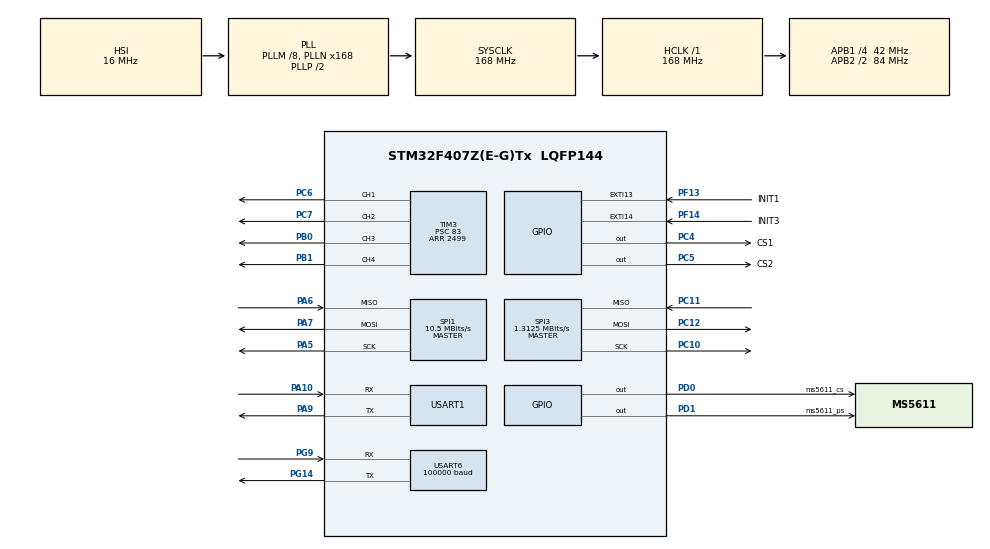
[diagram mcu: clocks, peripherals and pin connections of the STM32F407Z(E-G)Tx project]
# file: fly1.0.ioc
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Dma.Request0=SPI1_RX
Dma.Request1=SPI1_TX
Dma.Request2=USART6_RX
Dma.Request3=USART1_RX
Dma.Request4=USART1_TX
Dma.SPI1_RX.0.Direction=DMA_PERIPH_TO_MEMORY
Dma.SPI1_RX.0.FIFOMode=DMA_FIFOMODE_DISABLE
Dma.SPI1_RX.0.Instance=DMA2_Stream0
Dma.SPI1_RX.0.MemDataAlignment=DMA_MDATAALIGN_BYTE
Dma.SPI1_RX.0.MemInc=DMA_MINC_ENABLE
Dma.SPI1_RX.0.Mode=DMA_NORMAL
Dma.SPI1_RX.0.PeriphDataAlignment=DMA_PDATAALIGN_BYTE
Dma.SPI1_RX.0.PeriphInc=DMA_PINC_DISABLE
Dma.SPI1_RX.0.Priority=DMA_PRIORITY_VERY_HIGH
Dma.SPI1_TX.1.Direction=DMA_MEMORY_TO_PERIPH
Dma.SPI1_TX.1.FIFOMode=DMA_FIFOMODE_DISABLE
Dma.SPI1_TX.1.Instance=DMA2_Stream3
Dma.SPI1_TX.1.MemDataAlignment=DMA_MDATAALIGN_BYTE
Dma.SPI1_TX.1.MemInc=DMA_MINC_ENABLE
Dma.SPI1_TX.1.Mode=DMA_NORMAL
Dma.SPI1_TX.1.PeriphDataAlignment=DMA_PDATAALIGN_BYTE
Dma.SPI1_TX.1.PeriphInc=DMA_PINC_DISABLE
Dma.SPI1_TX.1.Priority=DMA_PRIORITY_VERY_HIGH
Dma.USART1_RX.3.Direction=DMA_PERIPH_TO_MEMORY
Dma.USART1_RX.3.FIFOMode=DMA_FIFOMODE_DISABLE
Dma.USART1_RX.3.Instance=DMA2_Stream2
Dma.USART1_RX.3.MemDataAlignment=DMA_MDATAALIGN_BYTE
Dma.USART1_RX.3.MemInc=DMA_MINC_ENABLE
Dma.USART1_RX.3.Mode=DMA_CIRCULAR
Dma.USART1_RX.3.PeriphDataAlignment=DMA_PDATAALIGN_BYTE
Dma.USART1_RX.3.PeriphInc=DMA_PINC_DISABLE
Dma.USART1_RX.3.Priority=DMA_PRIORITY_VERY_HIGH
Dma.USART1_TX.4.Direction=DMA_MEMORY_TO_PERIPH
Dma.USART1_TX.4.FIFOMode=DMA_FIFOMODE_DISABLE
Dma.USART1_TX.4.Instance=DMA2_Stream7
Dma.USART1_TX.4.MemDataAlignment=DMA_MDATAALIGN_BYTE
Dma.USART1_TX.4.MemInc=DMA_MINC_ENABLE
Dma.USART1_TX.4.Mode=DMA_NORMAL
Dma.USART1_TX.4.PeriphDataAlignment=DMA_PDATAALIGN_BYTE
Dma.USART1_TX.4.PeriphInc=DMA_PINC_DISABLE
Dma.USART1_TX.4.Priority=DMA_PRIORITY_HIGH
Dma.USART6_RX.2.Direction=DMA_PERIPH_TO_MEMORY
Dma.USART6_RX.2.FIFOMode=DMA_FIFOMODE_DISABLE
Dma.USART6_RX.2.Instance=DMA2_Stream1
Dma.USART6_RX.2.MemDataAlignment=DMA_MDATAALIGN_BYTE
Dma.USART6_RX.2.MemInc=DMA_MINC_ENABLE
Dma.USART6_RX.2.Mode=DMA_CIRCULAR
Dma.USART6_RX.2.PeriphDataAlignment=DMA_PDATAALIGN_BYTE
Dma.USART6_RX.2.PeriphInc=DMA_PINC_DISABLE
Dma.USART6_RX.2.Priority=DMA_PRIORITY_MEDIUM
Mcu.Family=STM32F4
Mcu.Name=STM32F407Z(E-G)Tx
Mcu.Package=LQFP144
NVIC.DMA2_Stream0_IRQn=true\:1\:0\:true\:false\:true\:false\:true\:true
NVIC.DMA2_Stream1_IRQn=true\:9\:0\:true\:false\:true\:false\:true\:true
NVIC.DMA2_Stream2_IRQn=true\:8\:0\:true\:false\:true\:false\:true\:true
NVIC.DMA2_Stream3_IRQn=true\:1\:0\:true\:false\:true\:false\:true\:true
NVIC.DMA2_Stream7_IRQn=true\:8\:0\:true\:false\:true\:false\:true\:true
NVIC.EXTI15_10_IRQn=true\:0\:0\:true\:false\:true\:true\:true\:true
NVIC.PriorityGroup=NVIC_PRIORITYGROUP_4
NVIC.SPI1_IRQn=true\:3\:0\:true\:false\:true\:true\:true\:true
NVIC.TIM2_IRQn=true\:6\:0\:true\:false\:true\:true\:true\:true
NVIC.TIM5_IRQn=true\:15\:0\:true\:false\:true\:true\:true\:true
NVIC.USART1_IRQn=true\:10\:0\:true\:false\:true\:true\:true\:true
NVIC.USART6_IRQn=true\:5\:0\:true\:false\:true\:true\:true\:true
PA10.Mode=Asynchronous
PA10.Signal=USART1_RX
PA13.Mode=Serial_Wire
PA13.Signal=SYS_JTMS-SWDIO
PA14.Mode=Serial_Wire
PA14.Signal=SYS_JTCK-SWCLK
PA5.Mode=Full_Duplex_Master
PA5.Signal=SPI1_SCK
PA6.Mode=Full_Duplex_Master
PA6.Signal=SPI1_MISO
PA7.Mode=Full_Duplex_Master
PA7.Signal=SPI1_MOSI
PA9.Mode=Asynchronous
PA9.Signal=USART1_TX
PB0.Signal=S_TIM3_CH3
PB1.Signal=S_TIM3_CH4
PC10.Mode=Full_Duplex_Master
PC10.Signal=SPI3_SCK
PC11.Mode=Full_Duplex_Master
PC11.Signal=SPI3_MISO
PC12.Mode=Full_Duplex_Master
PC12.Signal=SPI3_MOSI
PC4.GPIO_Label=CS1
PC4.GPIO_PuPd=GPIO_PULLUP
PC4.GPIO_Speed=GPIO_SPEED_FREQ_MEDIUM
PC4.PinState=GPIO_PIN_SET
PC4.Signal=GPIO_Output
PC5.GPIO_Label=CS2
PC5.GPIO_PuPd=GPIO_PULLUP
PC5.GPIO_Speed=GPIO_SPEED_FREQ_MEDIUM
PC5.PinState=GPIO_PIN_SET
PC5.Signal=GPIO_Output
PC6.Signal=S_TIM3_CH1
PC7.Signal=S_TIM3_CH2
PD0.GPIO_Label=ms5611_cs
PD0.PinState=GPIO_PIN_SET
PD0.Signal=GPIO_Output
PD1.GPIO_Label=ms5611_ps
PD1.Signal=GPIO_Output
PF13.GPIO_Label=INIT1
PF13.GPIO_ModeDefaultEXTI=GPIO_MODE_IT_RISING
PF13.GPIO_PuPd=GPIO_NOPULL
PF13.Signal=GPXTI13
PF14.GPIO_Label=INIT3
PF14.GPIO_PuPd=GPIO_NOPULL
PF14.Signal=GPXTI14
PG14.Mode=Asynchronous
PG14.Signal=USART6_TX
PG9.Mode=Asynchronous
PG9.Signal=USART6_RX
PH0-OSC_IN.Mode=HSE-External-Oscillator
PH0-OSC_IN.Signal=RCC_OSC_IN
PH1-OSC_OUT.Mode=HSE-External-Oscillator
PH1-OSC_OUT.Signal=RCC_OSC_OUT
ProjectManager.HeapSize=0x200
ProjectManager.StackSize=0x400
ProjectManager.TargetToolchain=MDK-ARM V5.32
RCC.48MHZClocksFreq_Value=84000000
RCC.AHBFreq_Value=168000000
RCC.APB1CLKDivider=RCC_HCLK_DIV4
RCC.APB1Freq_Value=42000000
RCC.APB1TimFreq_Value=84000000
RCC.APB2CLKDivider=RCC_HCLK_DIV2
RCC.APB2Freq_Value=84000000
RCC.APB2TimFreq_Value=168000000
RCC.CortexFreq_Value=168000000
RCC.HCLKFreq_Value=168000000
RCC.HSE_VALUE=25000000
RCC.HSI_VALUE=16000000
RCC.LSE_VALUE=32768
RCC.PLLM=8
RCC.PLLN=168
RCC.SYSCLKFreq_VALUE=168000000
RCC.SYSCLKSource=RCC_SYSCLKSOURCE_PLLCLK
RCC.VCOOutputFreq_Value=336000000
SH.S_TIM3_CH1.0=TIM3_CH1,PWM Generation1 CH1
SH.S_TIM3_CH2.0=TIM3_CH2,PWM Generation2 CH2
SH.S_TIM3_CH3.0=TIM3_CH3,PWM Generation3 CH3
SH.S_TIM3_CH4.0=TIM3_CH4,PWM Generation4 CH4
SPI1.BaudRatePrescaler=SPI_BAUDRATEPRESCALER_8
SPI1.CLKPhase=SPI_PHASE_2EDGE
SPI1.CLKPolarity=SPI_POLARITY_HIGH
SPI1.CalculateBaudRate=10.5 MBits/s
SPI1.Direction=SPI_DIRECTION_2LINES
SPI1.Mode=SPI_MODE_MASTER
SPI1.VirtualType=VM_MASTER
SPI3.BaudRatePrescaler=SPI_BAUDRATEPRESCALER_32
SPI3.CLKPhase=SPI_PHASE_1EDGE
SPI3.CalculateBaudRate=1.3125 MBits/s
SPI3.Direction=SPI_DIRECTION_2LINES
SPI3.Mode=SPI_MODE_MASTER
SPI3.VirtualType=VM_MASTER
TIM2.AutoReloadPreload=TIM_AUTORELOAD_PRELOAD_ENABLE
TIM2.Period=999
TIM2.Prescaler=83
TIM3.AutoReloadPreload=TIM_AUTORELOAD_PRELOAD_ENABLE
TIM3.Channel-PWM\ Generation1\ CH1=TIM_CHANNEL_1
TIM3.Channel-PWM\ Generation2\ CH2=TIM_CHANNEL_2
TIM3.Channel-PWM\ Generation3\ CH3=TIM_CHANNEL_3
TIM3.Channel-PWM\ Generation4\ CH4=TIM_CHANNEL_4
TIM3.Period=2499
TIM3.Prescaler=83
TIM3.Pulse-PWM\ Generation1\ CH1=1000
TIM3.Pulse-PWM\ Generation2\ CH2=1000
TIM3.Pulse-PWM\ Generation3\ CH3=1000
TIM3.Pulse-PWM\ Generation4\ CH4=1000
TIM5.Prescaler=83
USART1.VirtualMode=VM_ASYNC
USART6.BaudRate=100000
USART6.Parity=PARITY_EVEN
USART6.StopBits=STOPBITS_2
USART6.VirtualMode=VM_ASYNC
USART6.WordLength=WORDLENGTH_9B
VP_TIM2_VS_ClockSourceINT.Mode=Internal
VP_TIM3_VS_ClockSourceINT.Mode=Internal
VP_TIM5_VS_ClockSourceINT.Mode=Internal
board=custom

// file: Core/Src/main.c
/* USER CODE BEGIN Header */
/**
  ******************************************************************************
  * @file           : main.c
  * @brief          : Main program body
  ******************************************************************************
  * @attention
  *
  * Copyright (c) 2025 STMicroelectronics.
  * All rights reserved.
  *
  * This software is licensed under terms that can be found in the LICENSE file
  * in the root directory of this software component.
  * If no LICENSE file comes with this software, it is provided AS-IS.
  *
  ******************************************************************************
  */
/* USER CODE END Header */
#include "main.h"
#include "dma.h"
#include "spi.h"
#include "tim.h"
#include "usart.h"
#include "gpio.h"

/* USER CODE BEGIN Includes */
#include <stdio.h>
#include <string.h>
#include <stdint.h>
#include <math.h>
#include <stdarg.h>
#include "sbus.h"

#include "imu_bmi088_bus.h"
#include "imu_bus_hal.h"
#include "imu_bmi088_frontend.h"
#include "fusion_mahony.h"
#include "imu_bringup.h"
#include "bmi08x.h"
#include "bmi088.h"      // bmi088_configure_data_synchronization(...)
#include "ringbuf_spsc.h"
#include "timebase.h"  // 寮曞叆鏃堕棿鍩哄噯鍔熻兘
#include "pipeline.h"
#include "sync_pair.h"
#include "autocal.h"
#include "fc_baro.h"
#include "mixer.h"
#include "motors.h"
#include "fc_core.h"
#include "fc_evt.h"
#include "log_uart.h"
#include "fc_context.h"
/* USER CODE END Includes */

/* USER CODE BEGIN PD */
// ==== App 鍙傛暟锛堥泦涓叆鍙ｏ級====
// 鎵撳嵃棰戠巼
#ifndef PRINT_EVERY_MS
#define PRINT_EVERY_MS        40     // 25Hz 鐘舵€佽
#endif

// 瀹氫箟鐜舰闃熷垪鐨勫閲?
#define RB_CAP_DATA 64    // 鏁版嵁鐜閲?

// flush/fuse 鐨勬壒閲忎笂闄?
#define FUSE_MAX_PER_LOOP     8      // 姣忔涓诲惊鐜渶澶氳瀺鍚?4 瀵?

// IRQ 缁熻绐楀彛
#define IRQ_STATS_WINDOW_MS   1000u

// 涓插彛鏃ュ織缂撳啿锛堜笌 DMA 涓€鑷达級
#define LOG_LINE_MAX          160
#define UART_DMA_BUF_SZ       192

#ifndef VOFA_UART
#define VOFA_UART huart1         // 涓婁綅鏈鸿緭鍑虹鍙?
#endif

// ===== gyro-driven: 涓㈠け鈥滈檧铻烘牱鏈€濈粺璁￠槇鍊?=====
#define FC_MISS_WIN_MS               50u   // 缁熻绐楀彛 50ms
#define FC_MISS_THRESH_SAMPLES       10u   // 50ms 鍐呬涪 >10 涓?gyro 鏍锋湰 => degraded
#define FC_MISS_HARDSTOP_SAMPLES     30u   // 50ms 鍐呬涪 >30 涓?gyro 鏍锋湰 => hardstop

// ===== 鎺у埗寤惰繜涓婇檺锛坙ag cap锛?====
// 瓒呰繃 soft锛氳繘鍏ヨ拷璧舵€侊紙鍙瀺鍚堬紝涓嶉€愬抚璺戞帶鍒讹紱鏈€鍚庣敤鏈€鏂版牱鏈?鍚堝苟dt璺戜竴娆★級
// 瓒呰繃 hard锛氳涓虹郴缁熶弗閲嶄笉瀹炴椂锛岀洿鎺ヨЕ鍙?IMU hard stop
#define FC_CTRL_LAG_SOFT_SEC   0.005f   // 5ms锛堝缓璁?3~8ms锛?
#define FC_CTRL_LAG_HARD_SEC   0.020f   // 20ms锛堝缓璁笌 fc 鐨?IMU failsafe 涓€鑷达級

// ===== gyro 鎵瑰鐞嗛绠楋紙鎸夋按浣嶅姩鎬佽皟鑺傦級=====
#ifndef FC_GYRO_BUDGET_LOW
#define FC_GYRO_BUDGET_LOW    64
#endif
#ifndef FC_GYRO_BUDGET_MID
#define FC_GYRO_BUDGET_MID    96
#endif
#ifndef FC_GYRO_BUDGET_HIGH
#define FC_GYRO_BUDGET_HIGH   128
#endif
#ifndef FC_GYRO_BUDGET_PANIC
#define FC_GYRO_BUDGET_PANIC  192
#endif

// ===== panic锛氱垎浠撴椂灏戝仛鏉備簨锛堥檷杞斤級=====
#ifndef FC_PANIC_HOLD_MS
#define FC_PANIC_HOLD_MS        200u
#endif
#ifndef FC_PANIC_SKIP_LOG_POLL_DIV
#define FC_PANIC_SKIP_LOG_POLL_DIV  4u
#endif

// ESC 娌归棬鏍″噯妯″紡锛?=鍚敤鏍″噯锛?=姝ｅ父椋炶
#define ESC_CALIB_MODE   0
#define MOTOR_TEST_MODE  0   // 鍏堝紑娴嬭瘯锛岀敤瀹屾敼鍥?0
/* USER CODE END PD */

/* USER CODE BEGIN PV */
static IMU_BMI088_Bus bus;
static IMU_BMI088_FE  fe;
Mahony         mah;

/* 鏁版嵁鐜紙TS->鏁版嵁锛?*/
static stamped_vec3_t acc_buf[RB_CAP_DATA], gyr_buf[RB_CAP_DATA];
static rb_vec_t       acc_rb, gyr_rb;

static volatile uint8_t uart_dma_busy = 0;
static uint8_t uart_dma_buf[UART_DMA_BUF_SZ];

void HAL_UART_TxCpltCallback(UART_HandleTypeDef *huart)
{
  // 璁?log_uart 鐨?DMA/IT 鍙戦€佺姸鎬佹満寰€鍓嶈蛋
  log_uart_on_tx_cplt(huart);

  // 浣犲師鏉?VOFA 鐨?busy 鏍囧織
  if (huart == &VOFA_UART) uart_dma_busy = 0;
}
volatile float g_gyr_dps_latest[3] = {0};

volatile uint32_t g_exti_acc = 0, g_exti_gyr = 0;
volatile uint32_t g_spi1_done = 0, g_spi1_err = 0;

volatile uint8_t g_imu_drdy_pending = 0;
static uint32_t t_done = 0;
static uint32_t last_done = 0;

static uint32_t s_miss_total = 0;
static uint32_t s_miss_win_t0_ms = 0;
static uint32_t s_miss_win_cnt = 0;
static uint8_t  s_ctrl_degraded = 0;
static uint8_t  s_ctrl_hardstop = 0;
static uint32_t s_miss_warn_last_ms = 0;

static float    s_gyr_Ts_sec      = 0.001f;   // 鏈熸湜闄€铻哄懆鏈?绉?锛岀敤浜庝及绠椾涪鏍锋湰

static uint32_t sp_err_cnt = 0;
static uint32_t sp_ts_order_cnt = 0;
static uint32_t sp_err_last_ms = 0;

static uint32_t s_lag_soft_hits = 0;
static uint32_t s_lag_hard_hits = 0;

// 璁板綍涓婁竴娆＄殑绱 drop锛堢敤浜庣畻 delta锛?
static uint32_t s_last_gyr_merge_drop = 0;

// ===== 1Hz 鎵撳嵃鐢細绱 drop 鐨勫熀绾匡紙鐢ㄤ簬绠?delta锛?====
static uint32_t s_1hz_last_mergeA = 0;
static uint32_t s_1hz_last_mergeG = 0;
static uint32_t s_1hz_last_sweepA = 0;
static uint32_t s_1hz_last_sweepG = 0;

// ===== pipeline 绱 drop 鐨勨€滄竻闆跺熀绾库€濓紙鐢ㄤ簬鎶婄疮璁℃€绘暟鏄剧ず鎴愪粠0寮€濮嬶級=====
static uint32_t s_base_mergeA = 0;
static uint32_t s_base_mergeG = 0;
static uint32_t s_base_sweepA = 0;
static uint32_t s_base_sweepG = 0;

static uint32_t s_panic_until_ms = 0;   // >now 鍒欏浜?panic
static uint32_t s_loop_ctr = 0;         // 鐢ㄤ簬 panic 涓嬪仛闄嶉

static uint32_t s_irq_stats_t0 = 0;   // DWT 棰戠巼缁熻绐楀彛璧风偣锛堝彲鍦?init 瀵归綈锛?

static fc_baro_out_t s_baro_out;
static uint32_t s_baro_frames = 0;
static uint32_t s_baro_last_ms = 0;
static fc_baro_out_t s_baro_last;   // 鍙€夛細淇濆瓨鏈€鍚庝竴甯у唴瀹?

/* USER CODE END PV */

void SystemClock_Config(void);
/* USER CODE BEGIN PFP */
int  vofa_fw_send_line(const char *tag, const char *fmt, ...);

static void baseline_align(void);
/* USER CODE END PFP */

/* USER CODE BEGIN 0 */
/*int fputc(int ch, FILE *f)
{
    while (uart_dma_busy || VOFA_UART.gState != HAL_UART_STATE_READY) {  }
    if (ch == '\n') { uint8_t cr = '\r'; HAL_UART_Transmit(&VOFA_UART, &cr, 1, 1000); }
    uint8_t c = (uint8_t)ch;
    HAL_UART_Transmit(&VOFA_UART, &c, 1, 1000);
    return ch;
}*/

static inline void baro_pump(void)
{
    if (fc_baro_service_sched(&s_baro_out)) {
        // 缁熻锛氭湁鏂版牱鏈?
        s_baro_frames++;
        s_baro_last_ms = HAL_GetTick();
        s_baro_last = s_baro_out;

        // 鍠傜粰 FC
        fc_core_baro_feed(s_baro_out.valid, s_baro_out.ts_ticks,
                          s_baro_out.press_pa, s_baro_out.temp_centi,
                          s_baro_out.alt_rel_m, s_baro_out.vz_mps);
    }
}

#ifndef FC_BARO_PREARM_ZERO_MS
#define FC_BARO_PREARM_ZERO_MS          1000u
#endif

#ifndef FC_BARO_PREARM_ZERO_ALT_ERR_M
#define FC_BARO_PREARM_ZERO_ALT_ERR_M   0.20f
#endif

#ifndef FC_BARO_PREARM_ZERO_GYR_MAX_DPS
#define FC_BARO_PREARM_ZERO_GYR_MAX_DPS 0.80f
#endif

static uint8_t baro_prearm_static_ok(void)
{
    float gx = 0.0f, gy = 0.0f, gz = 0.0f;
    imu_get_gyro_dps(&gx, &gy, &gz);

    float g2 = gx * gx + gy * gy + gz * gz;
    return (uint8_t)(g2 <= (FC_BARO_PREARM_ZERO_GYR_MAX_DPS *
                            FC_BARO_PREARM_ZERO_GYR_MAX_DPS));
}

static void baro_prearm_zero_service(void)
{
    static uint32_t last_try_ms = 0u;
    static uint8_t zeroed = 0u;

    uint8_t gate_ok = (uint8_t)(
        !s.arm.armed &&
        !s.rc.arm_sw &&
        s.rc.thr_low &&
        s.rc.stable &&
        s.baro.valid
    );

    if (!gate_ok) {
        zeroed = 0u;
        return;
    }

    uint32_t now_ms = HAL_GetTick();
    if ((uint32_t)(now_ms - last_try_ms) < FC_BARO_PREARM_ZERO_MS) {
        return;
    }
    last_try_ms = now_ms;

    if (zeroed && fabsf(s.baro.alt_rel_m) < FC_BARO_PREARM_ZERO_ALT_ERR_M) {
        return;
    }

    if (!baro_prearm_static_ok()) {
        return;
    }

    float z_before = s.baro.alt_rel_m;
    int32_t p_before = s.baro.press_pa;
    int32_t t_before = s.baro.temp_centi;

    if (fc_baro_zero_to_current()) {
        uint32_t ts = now_ticks();
        fc_core_baro_feed(1u, ts, p_before, t_before, 0.0f, 0.0f);

        s_baro_last.ts_ticks = ts;
        s_baro_last.valid = 1u;
        s_baro_last.press_pa = p_before;
        s_baro_last.temp_centi = t_before;
        s_baro_last.alt_rel_m = 0.0f;
        s_baro_last.vz_mps = 0.0f;
        s_baro_last_ms = now_ms;

        fc_evt_push(FC_EVT_BARO_ZERO,
                    (int16_t)(z_before * 100.0f),
                    (int16_t)(p_before & 0xFFFF),
                    (int16_t)((uint32_t)p_before >> 16),
                    0);
        zeroed = 1u;
    }
}

int vofa_fw_send_line(const char *tag, const char *fmt, ...)
{
	static char line[LOG_LINE_MAX];
    int n = 0;
    if (tag && tag[0]) {
        n = snprintf(line, sizeof(line), "%s: ", tag);
        if (n < 0) return n;
    }
    va_list ap; va_start(ap, fmt);
    int m = vsnprintf(line + n, sizeof(line) - n, fmt, ap);
    va_end(ap);
    if (m < 0) return m; n += m;
    if (n >= (int)sizeof(line) - 2) n = sizeof(line) - 2;
    line[n++] = '\n'; line[n] = 0;

    if (VOFA_UART.gState != HAL_UART_STATE_READY || uart_dma_busy)
        return -11;                         // 蹇欙紝鐩存帴涓?

    memcpy(uart_dma_buf, line, n);
    uart_dma_busy = 1;
    if (HAL_UART_Transmit_DMA(&VOFA_UART, uart_dma_buf, n) == HAL_OK)
        return n;
    uart_dma_busy = 0;
    return -2;
}

// 鍙粰 VOFA 鐪嬪Э鎬侊細绾?CSV锛屼笉甯?tag
static void vofa_send_att_csv(float roll_deg, float pitch_deg, float yaw_deg)
{
    char buf[64];
    int n = snprintf(buf, sizeof(buf), "%.2f,%.2f,%.2f\r\n",
                     roll_deg, pitch_deg, yaw_deg);
    if (n > 0) {
        HAL_UART_Transmit(&huart1, (uint8_t*)buf, (uint16_t)n, 100);
    }
}

void HAL_GPIO_EXTI_Callback(uint16_t GPIO_Pin)
{
    uint32_t ts = now_ticks();

    if (GPIO_Pin == INIT1_Pin) {
        g_exti_acc++;
        imu_drdy_on_acc(ts);
    } else if (GPIO_Pin == INIT3_Pin) {
        g_exti_gyr++;
        imu_drdy_on_gyr(ts);
    }

    //涓嶈鍦?EXTI 閲岃皟鐢?imu_pipeline_dma_poll()
}

static void freq_quick_check_timebase(void)
{
    (void)now_ticks();
    const IMU_PipelineStats *s = imu_pipeline_stats();

    // 瀵归綈鍒颁笅涓€娆?ACC 娌匡細杩欓噷涔熷埆骞茬瓑
    uint32_t a_sync = s->acc_irq_cnt;
    while (s->acc_irq_cnt == a_sync) {
        imu_pipeline_dma_poll();  // <<< 鍔犺繖涓?
    }

    uint32_t t0 = now_ticks();
    uint32_t a0 = s->acc_irq_cnt;
    uint32_t g0 = s->gyr_irq_cnt;

    // 1 绉掔獥鍙ｏ細鍒?busy wait锛屾寔缁湇鍔?DMA
    while ((uint32_t)(now_ticks() - t0) < 1000000u) {
        imu_pipeline_dma_poll();  // <<< 鍔犺繖涓?
    }

    uint32_t a1 = s->acc_irq_cnt;
    uint32_t g1 = s->gyr_irq_cnt;

    // printf(...) 鎸夐渶鎵撳紑
}

/* === 1s 鍧囧€兼祴閫?+ 鍘绘姈鍙鍖栵紙浣跨敤 pipeline 鐨勭粺璁★級 === */
static void irq_stats_now(void)
{
	const IMU_PipelineStats *s = imu_pipeline_stats();

	float acc_sec = (s->acc_dt_sum) ? ticks_to_sec(s->acc_dt_sum) : 0.0f;
  float gyr_sec = (s->gyr_dt_sum) ? ticks_to_sec(s->gyr_dt_sum) : 0.0f;

  float acc_hz_mean = (s->acc_dt_n && acc_sec > 0.0f) ? ((float)s->acc_dt_n / acc_sec) : 0.0f;
  float gyr_hz_mean = (s->gyr_dt_n && gyr_sec > 0.0f) ? ((float)s->gyr_dt_n / gyr_sec) : 0.0f;

  float acc_min_us = 1e6f * ticks_to_sec(s->min_acc_irq_dt == 0xFFFFFFFFu ? 0 : s->min_acc_irq_dt);
  float gyr_min_us = 1e6f * ticks_to_sec(s->min_gyr_irq_dt == 0xFFFFFFFFu ? 0 : s->min_gyr_irq_dt);

    /* 2) 鎵撳嵃瑙傛祴鍊硷紙鍒嗛€氶亾锛?*/
    /*vofa_fw_send_line("irq_stats",
        "ACC mean=%.2f Hz, min=%.2fus | GYR mean=%.2f Hz, min=%.2fus",
        acc_hz_mean, acc_min_us, gyr_hz_mean, gyr_min_us);*/

    /* 3) 鍙鍖栧綋鍓嶉槇鍊硷紙寰锛夛紝鐩磋鐪嬫槸鍚?> ACC 鐨?min */
    /*vofa_fw_send_line("debounce_us",
        "ACC_thr=%.2fus, GYR_thr=%.2fus",
        1e6f * ticks_to_sec(imu_pipeline_acc_deglitch_ticks()),
        1e6f * ticks_to_sec(imu_pipeline_gyr_deglitch_ticks()));*/

    /* 4) 娓呯獥鍙ｏ細涓嬩竴绉掗噸鏂扮Н绱?*/
    imu_pipeline_reset_stats_window();
}

// ===== panic helpers =====
static inline void fc_panic_kick(uint32_t now_ms)
{
    uint32_t until = now_ms + FC_PANIC_HOLD_MS;
    if ((int32_t)(until - s_panic_until_ms) > 0) {
        s_panic_until_ms = until;
    }
}

static inline uint8_t fc_in_panic(uint32_t now_ms)
{
    return ((int32_t)(s_panic_until_ms - now_ms) > 0) ? 1u : 0u;
}

// ===== dropped gyro accounting =====
static void fc_note_ticks_dropped(uint32_t dropped)
{
    if (dropped == 0u) return;

    uint32_t now = HAL_GetTick();
    if (now < 2000u) return; // 鍚姩鏈熶笉缁熻

    s_miss_total += dropped;

    if (s_miss_win_t0_ms == 0u) s_miss_win_t0_ms = now;

    if ((uint32_t)(now - s_miss_win_t0_ms) >= FC_MISS_WIN_MS) {
        s_miss_win_t0_ms = now;
        s_miss_win_cnt   = dropped;
    } else {
        s_miss_win_cnt  += dropped;
    }

    if (!s_ctrl_degraded && (s_miss_win_cnt > FC_MISS_THRESH_SAMPLES)) {
        s_ctrl_degraded = 1u;
        fc_panic_kick(now);              // degraded 涔熻Е鍙戜竴娈甸檷杞?
    }

    if (!s_ctrl_hardstop && (s_miss_win_cnt > FC_MISS_HARDSTOP_SAMPLES)) {
        s_ctrl_hardstop = 1u;
        fc_panic_kick(now);              // hardstop 鏇磋闄嶈浇
        fc_evt_push(FC_EVT_IMU_HEALTH,
                    FC_IMU_HEALTH_DROP_HARDSTOP,
                    (int16_t)((s_miss_win_cnt > 32767u) ? 32767u : s_miss_win_cnt),
                    (int16_t)FC_MISS_WIN_MS,
                    (int16_t)(s.arm.armed ? 1 : 0));

        if (s.arm.armed) {
            fc_emergency_stop(FC_FS_IMU);
        }
    }

    // 闄愰鍛婅锛歱anic 鏃朵笉鍋?format 鎵撳嵃
    if ((uint32_t)(now - s_miss_warn_last_ms) >= 1000u) {
        s_miss_warn_last_ms = now;
        if (!fc_in_panic(now)) {
            log_uart_printf("WARN: gyro_drop win=%lu/%ums total=%lu degraded=%u hardstop=%u\r\n",
                            (unsigned long)s_miss_win_cnt,
                            (unsigned)FC_MISS_WIN_MS,
                            (unsigned long)s_miss_total,
                            (unsigned)s_ctrl_degraded,
                            (unsigned)s_ctrl_hardstop);
        }
    }
}

// ===== pipeline drop 璁℃暟蹇収锛堥伩鍏?ISR 姝ｅ湪鏇存柊鏃舵挄瑁傦級=====
static IMU_PipelineStats imu_stats_snapshot(void)
{
    IMU_PipelineStats snap;
    uint32_t prim = __get_PRIMASK();
    __disable_irq();
    snap = *imu_pipeline_stats();   // 缁撴瀯浣撴嫹璐濓紙绐楀彛缁熻+drop绱锛?
    if (!prim) __enable_irq();
    return snap;
}

static void delay_with_imu_poll(uint32_t ms)
{
    uint32_t t0 = HAL_GetTick();
    while ((uint32_t)(HAL_GetTick() - t0) < ms) {
        imu_pipeline_dma_poll();
        sbus_uart6_dma_poll();
			baro_pump();
    }
}

static void baseline_align(void)
{
    // 1) 鍏堥鐑竴灏忔锛岃 DRDY/DMA/gyro_ts 璺戣捣鏉ワ紙閬垮厤 lag_hard 琚惎鍔ㄦ湡姹℃煋锛?
    delay_with_imu_poll(200);

    // 2) 鍙€夛細鎶?warmup 鏈熼棿鍫嗗湪 ring 閲岀殑鏍锋湰涓㈡帀锛堜粠骞插噣闃熷垪寮€濮嬶級
    {
        uint32_t prim = __get_PRIMASK();
        __disable_irq();
        rbv_init(&acc_rb, acc_buf, RB_CAP_DATA);
        rbv_init(&gyr_rb, gyr_buf, RB_CAP_DATA);
        if (!prim) __enable_irq();
    }

    // 3) sync_pair reset锛氶伩鍏嶉甯?dt 鐢ㄥ埌鏃?ts
    imu_sync_pair_reset();

		delay_with_imu_poll(5);
    // 4) snapshot锛氫綔涓哄熀绾?
    IMU_PipelineStats st0 = imu_stats_snapshot();

    // ---- 5ms miss 缁熻鐢細merge_drop 鍩虹嚎 ----
    s_last_gyr_merge_drop = st0.gyr_merge_drop;

    // ---- pipeline 鈥滀粠0寮€濮嬫樉绀衡€濈殑鍩虹嚎 ----
    s_base_mergeA = st0.acc_merge_drop;
    s_base_mergeG = st0.gyr_merge_drop;
    s_base_sweepA = st0.acc_sweep_drop;
    s_base_sweepG = st0.gyr_sweep_drop;

    // ---- 1Hz 鎵撳嵃鐢細delta 鍩虹嚎 ----
    s_1hz_last_mergeA = st0.acc_merge_drop;
    s_1hz_last_mergeG = st0.gyr_merge_drop;
    s_1hz_last_sweepA = st0.acc_sweep_drop;
    s_1hz_last_sweepG = st0.gyr_sweep_drop;

    // ---- 1Hz spi_done delta 鍩虹嚎 + 1Hz 瀹氭椂璧风偣
    last_done = g_spi1_done;
    t_done    = HAL_GetTick();

    // ---- 娓呪€滃惎鍔ㄦ湡姹℃煋鈥濈殑杞欢缁熻 ----
    {
        uint32_t now_ms = HAL_GetTick();

        s_miss_total = 0;
        s_miss_win_cnt = 0;
        s_miss_win_t0_ms = now_ms;
        s_ctrl_degraded = 0;
        s_ctrl_hardstop = 0;
        s_miss_warn_last_ms = now_ms;

        sp_err_cnt = 0;
        sp_ts_order_cnt = 0;
        sp_err_last_ms = now_ms;

        s_lag_soft_hits = 0;
        s_lag_hard_hits = 0;

        s_panic_until_ms = 0;
        s_loop_ctr = 0;
    }

    // ---- 娓?pipeline 鐨勨€?s 缁熻绐楀彛鈥濓紙鍧囧€?鏈€灏忛棿闅旈偅濂楋級----
    imu_pipeline_reset_stats_window();

    // ---- 瀵归綈 DWT 棰戠巼缁熻绐楀彛璧风偣锛堟浛浠?while 閲岀殑 static stats_t0锛?---
    s_irq_stats_t0 = now_ticks();
}

// ===== gyro 鎵瑰鐞嗛绠楋細鎸夋按浣嶅姩鎬佽皟鑺?=====
static inline int fc_pick_gyro_budget(uint32_t gsz)
{
    const uint32_t cap = (uint32_t)RB_CAP_DATA;

    if (gsz >= (cap * 7u / 8u)) return FC_GYRO_BUDGET_PANIC; // >=87.5%
    if (gsz >= (cap * 3u / 4u)) return FC_GYRO_BUDGET_HIGH;  // >=75%
    if (gsz >= (cap / 2u))      return FC_GYRO_BUDGET_MID;   // >=50%
    return FC_GYRO_BUDGET_LOW;
}

/* USER CODE END 0 */

int main(void)
{

  /* MCU Configuration--------------------------------------------------------*/

  /* Reset of all peripherals, Initializes the Flash interface and the Systick. */
  HAL_Init();

  /* Configure the system clock */
  SystemClock_Config();

  /* Initialize all configured peripherals */
  MX_GPIO_Init();
  MX_DMA_Init();
  MX_SPI1_Init();
  MX_SPI3_Init();
  MX_TIM3_Init();
  MX_USART6_UART_Init();
  MX_TIM2_Init();
  MX_USART1_UART_Init();
  MX_TIM5_Init();
  /* USER CODE BEGIN 2 */
	__HAL_TIM_SET_COUNTER(&htim5, 0);
  __HAL_TIM_CLEAR_FLAG(&htim5, TIM_FLAG_UPDATE);
  HAL_TIM_Base_Start_IT(&htim5);// timebase: TIM5 1MHz free-run + overflow IRQ

	log_uart_init(&huart1);
	fc_evt_init();
	log_uart_printf("LOG OK\r\n");

	if (fc_baro_init_spi(&hspi3, ms5611_cs_GPIO_Port, ms5611_cs_Pin) != HAL_OK) {
    log_uart_printf("BARO init FAIL\r\n");
	} else {
    log_uart_printf("BARO init OK\r\n");
	}

	/* Rings init (data only) */
	rbv_init(&acc_rb, acc_buf, RB_CAP_DATA);
	rbv_init(&gyr_rb, gyr_buf, RB_CAP_DATA);

  /* pipeline 鍙粦瀹氭暟鎹幆锛圖MA pending -> data ring锛?*/
  imu_pipeline_bind(&acc_rb, &gyr_rb);

  /* IMU + Mahony */
  if (imu_bringup_init(&bus, &fe) != 0) { Error_Handler(); }
	imu_pipeline_dma_attach((IMU_BMI088_HALCtx*)bus.user, &fe);

	IMU_BMI088_Status st; IMU_BMI088_FE_GetStatus(&fe, &st);
	imu_pipeline_set_deglitch_by_fs(st.runtime_acc_sample_hz, st.runtime_gyr_sample_hz);

	s_gyr_Ts_sec = (st.runtime_gyr_sample_hz > 1.0f) ? (1.0f / st.runtime_gyr_sample_hz) : 0.001f;

	/* 鎶婂墠绔?+ Mahony + 鏁版嵁鐜氦缁欏悓姝?閰嶅妯″潡 */
  imu_sync_pair_bind(&fe, &mah, &acc_rb, &gyr_rb);
  imu_sync_pair_set_fs(st.runtime_acc_sample_hz, st.runtime_gyr_sample_hz);

	/* 棰勭儹 DWT 骞跺仛 1s 棰戠巼蹇锛堟鏃?DRDY 宸插紑鍚級 */
  (void)now_ticks();
  delay_with_imu_poll(10);
  freq_quick_check_timebase();
	irq_stats_now();

  MahonyConfig mc = {
    .mode = MAHONY_MODE_6DOF,
    .kp_acc = 2.0f, .kp_mag = 0.0f, .ki = 0.03f,
    .acc_g_min = 0.7f, .acc_g_max = 1.3f, .acc_gray_k = 2.0f,
    .mag_ref_uT = 45.0f, .mag_uT_min = 20.0f, .mag_uT_max = 70.0f, .mag_gray_k = 1.5f,
    .dt_min = 1e-4f, .dt_max = 0.05f
  };
  mahony_init(&mah, &mc, NULL);

	imu_autocal_init(&fe, &mah);

  /* 鍚姩鐢垫満 PWM锛屽叏閮?1ms 闈欐 */
  motors_init();
  delay_with_imu_poll(10);

	HAL_TIM_Base_Start_IT(&htim2);
	baseline_align();

#if ESC_CALIB_MODE
  motors_set_armed(1);

  float m[4];

  // 1) 鍏堟寔缁緭鍑烘渶澶ф补闂ㄤ竴娈佃冻澶熼暱鐨勬椂闂?
  m[0]=m[1]=m[2]=m[3]=1.0f;   // 2000us
  motors_write(m);
  HAL_Delay(12000);           // 寤鸿 10~15s锛屽埆 4s 澶揣

  // 2) 鍐嶈緭鍑烘渶灏忔补闂?
  m[0]=m[1]=m[2]=m[3]=0.0f;   // 1000us
  motors_write(m);
  HAL_Delay(8000);

  motors_set_armed(0);
  while (1) { HAL_Delay(1000); }
#endif
  /* USER CODE END 2 */

  /* Infinite loop */
  /* USER CODE BEGIN WHILE */
	uint32_t print_ms = HAL_GetTick();
	uint32_t sweep_ms = HAL_GetTick();
  while (1)
  {
    /* USER CODE END WHILE */

    /* USER CODE BEGIN 3 */
		#if MOTOR_TEST_MODE
    // === 鐢垫満缂栧彿娴嬭瘯妯″紡锛氫笉璧?IMU銆佷笉璧?PID銆佷笉璧?mixer ===
    static uint8_t  idx = 0;
    static uint32_t last_switch_ms = 0;
    float m[4] = {0.0f, 0.0f, 0.0f, 0.0f};

    uint32_t now = HAL_GetTick();
    if (now - last_switch_ms > 2000) {
        last_switch_ms = now;
        idx = (idx + 1) & 0x03;
    }
    m[idx] = 0.20f;
    motors_write(m);
    continue;
#endif

		imu_pipeline_dma_poll();
		sbus_uart6_dma_poll();
		baro_pump();
		fc_core_service_async();
		baro_prearm_zero_service();

		uint32_t now_ms = HAL_GetTick();
		uint32_t gsz0   = (uint32_t)rbv_size(&gyr_rb);
		int budget      = fc_pick_gyro_budget(gsz0);

		/* 姘翠綅瑙﹀彂 panic锛氱垎浠撹竟缂樺氨閿佸瓨涓€娈垫椂闂?*/
		if (gsz0 >= ((uint32_t)RB_CAP_DATA * 7u / 8u)) {
			fc_panic_kick(now_ms);
		}
		uint8_t panic = fc_in_panic(now_ms);

		if (panic && budget < FC_GYRO_BUDGET_HIGH) {
			budget = FC_GYRO_BUDGET_PANIC;
		}

		float dt = 0.0f;
		float gyr[3];

		/* 杩借刀鎬侊細绱 dt锛岀敤鏈€鏂版牱鏈渶鍚庡彧璺戜竴娆℃帶鍒?*/
		uint8_t catching_up = 0;
		float   dt_acc = 0.0f;
		float   last_gyr[3] = {0};
		uint8_t have_last = 0;

		int eaten = 0;
		while (budget-- > 0) {
      if (((eaten++) & 7) == 0) {
        imu_pipeline_dma_poll();
        sbus_uart6_dma_poll();
      }

			if ((eaten & 31) == 0) {     // 姣?32 娆¤ˉ涓€娆★紙鈮堜笉浼氬お棰戠箒锛?
        baro_pump();
        fc_core_service_async();
			}

      int r = imu_sync_pair_step_one(gyr, &dt);
      if (r == IMU_SP_NO_DATA) break;

      if (r < 0) {
        sp_err_cnt++;
        if (r == IMU_SP_E_TS_ORDER) sp_ts_order_cnt++;

        uint32_t now = HAL_GetTick();
        if ((uint32_t)(now - sp_err_last_ms) >= 1000u) {
            sp_err_last_ms = now;
            if (!panic) {
                log_uart_printf("WARN: sync_pair err=%lu ts_order=%lu\r\n",
                                (unsigned long)sp_err_cnt,
                                (unsigned long)sp_ts_order_cnt);
            }
        }
        continue;
      }

      // dt 浼扮畻涓㈡牱鏈?
      if (s_gyr_Ts_sec > 0.0f && dt > 1.5f * s_gyr_Ts_sec) {
        uint32_t miss = (uint32_t)(dt / s_gyr_Ts_sec + 0.5f);
        if (miss > 0) miss -= 1;
        fc_note_ticks_dropped(miss);
      }

      uint32_t g_ts = imu_get_gyro_ts();
      if (g_ts != 0u) {
        float lag = ticks_to_sec((uint32_t)(now_ticks() - g_ts));

        if (lag > FC_CTRL_LAG_HARD_SEC) {
            s_lag_hard_hits++;
            fc_panic_kick(HAL_GetTick());
            panic = 1u;

            fc_core_step(gyr, FC_CTRL_LAG_HARD_SEC + 0.001f);
            catching_up = 0;
            dt_acc = 0.0f;
            break;
        }

        if (lag > FC_CTRL_LAG_SOFT_SEC) {
            if (!catching_up) s_lag_soft_hits++;
            catching_up = 1;
            dt_acc += dt;
            last_gyr[0] = gyr[0];
            last_gyr[1] = gyr[1];
            last_gyr[2] = gyr[2];
            have_last = 1;
            continue;
        }
      }

      // 涓嶇 g_ts 鏄惁鏈夋晥锛屽彧瑕佹病 continue/break锛屽氨瑕佹甯歌窇鎺у埗
      if (catching_up) {
        dt_acc += dt;
        fc_core_step(gyr, dt_acc);
        catching_up = 0;
        dt_acc = 0.0f;
      } else {
        fc_core_step(gyr, dt);
      }
		}
		uint32_t gsz_now = (uint32_t)rbv_size(&gyr_rb);

		/* 濡傛灉棰勭畻鑰楀敖浣嗕粛鍦ㄨ拷璧舵€侊細鑷冲皯鐢ㄦ渶鏂版牱鏈窇涓€娆♀€滃悎骞?dt鈥濈殑鎺у埗 */
		if (catching_up && have_last) {
			fc_core_step(last_gyr, dt_acc);
		}

		// 3) 浣庨鑳屽帇娓呴亾澶?
		if ((uint32_t)(HAL_GetTick() - sweep_ms) >= 5u) {
			sweep_ms += 5u;
			//merge_drop锛氭棤鏉′欢姣?5ms 缁熻锛堥伩鍏?panic 婕忚锛?
			IMU_PipelineStats st = imu_stats_snapshot();
			uint32_t d_gyr_merge = st.gyr_merge_drop - s_last_gyr_merge_drop;
			s_last_gyr_merge_drop = st.gyr_merge_drop;
			if (d_gyr_merge) fc_note_ticks_dropped(d_gyr_merge);

			//sweep锛氭寜浣犵殑绛栫暐 gating锛坧anic 鏃舵洿淇濆畧锛?
			if (!panic || (gsz_now >= ((uint32_t)RB_CAP_DATA * 7u / 8u))) {
        uint32_t da = 0, dg = 0;
        (void)imu_sweep_backlog(&da, &dg);
        if (dg) fc_note_ticks_dropped(dg);
			}
		}

    if (!panic) {
      fc_core_log_poll();
      log_uart_poll();
		} else {// panic锛氬彧淇濈暀鏈€蹇呰鐨勪覆鍙ｅ嚭闃燂紙閬垮厤鏃ュ織ring鐖嗭級锛屽苟闄嶉
      if ((++s_loop_ctr % FC_PANIC_SKIP_LOG_POLL_DIV) == 0u) {
        log_uart_poll();
			}// fc_acro_log_poll() 鍏堜笉璺戯紙閫氬父閲岄潰浼氬仛鏍煎紡鍖?鎵撳寘锛?
		}

		/* ===== 5) 1Hz锛氶獙鏀舵墦鍗?===== */
		while (!panic && (uint32_t)(HAL_GetTick() - t_done) >= 1000u){
			t_done += 1000;

      uint32_t now_done = g_spi1_done;

      IMU_PipelineStats st = imu_stats_snapshot();

			uint32_t tot_mergeA = st.acc_merge_drop - s_base_mergeA;
			uint32_t tot_mergeG = st.gyr_merge_drop - s_base_mergeG;
			uint32_t tot_sweepA = st.acc_sweep_drop - s_base_sweepA;
			uint32_t tot_sweepG = st.gyr_sweep_drop - s_base_sweepG;

			uint32_t d_mergeA = st.acc_merge_drop - s_1hz_last_mergeA;
			uint32_t d_mergeG = st.gyr_merge_drop - s_1hz_last_mergeG;
			uint32_t d_sweepA = st.acc_sweep_drop - s_1hz_last_sweepA;
			uint32_t d_sweepG = st.gyr_sweep_drop - s_1hz_last_sweepG;

			s_1hz_last_mergeA = st.acc_merge_drop;
			s_1hz_last_mergeG = st.gyr_merge_drop;
			s_1hz_last_sweepA = st.acc_sweep_drop;
			s_1hz_last_sweepG = st.gyr_sweep_drop;

      log_uart_printf("[1Hz] spi_done=%lu (+%lu) | rbA=%u rbG=%u | spi_err=%lu dma_to=%lu | "
			"miss_total=%lu win_miss=%lu deg=%u hard=%u | lag_soft=%lu lag_hard=%lu | "
      "drop_merge(A,G)=%lu,%lu (+%lu,+%lu) | drop_sweep(A,G)=%lu,%lu (+%lu,+%lu)\r\n",
      (unsigned long)now_done,
      (unsigned long)(now_done - last_done),
      (unsigned)rbv_size(&acc_rb),
      (unsigned)rbv_size(&gyr_rb),
      (unsigned long)g_spi1_err,
      (unsigned long)st.dma_timeout_cnt,
      (unsigned long)s_miss_total,
      (unsigned long)s_miss_win_cnt,
      (unsigned)s_ctrl_degraded,
      (unsigned)s_ctrl_hardstop,
      (unsigned long)s_lag_soft_hits,
      (unsigned long)s_lag_hard_hits,
        (unsigned long)tot_mergeA,
			  (unsigned long)tot_mergeG,
      (unsigned long)d_mergeA,
      (unsigned long)d_mergeG,
        (unsigned long)tot_sweepA,
				(unsigned long)tot_sweepG,
      (unsigned long)d_sweepA,
      (unsigned long)d_sweepG
    );

			static uint32_t s_baro_frames_last = 0;
			static uint32_t s_baro_hz = 0;

			uint32_t d = s_baro_frames - s_baro_frames_last;
s_baro_frames_last = s_baro_frames;
s_baro_hz = d;  // 鍥犱负浣犳槸 1Hz 鎵撳嵃锛屾墍浠?d 灏辨槸 Hz

			uint32_t baro_age = (s_baro_last_ms == 0) ? 0xFFFFFFFFu : (HAL_GetTick() - s_baro_last_ms);
			log_uart_printf(" | baro:Hz=%lu age=%lums v=%u p=%ld alt=%.2f vz=%.2f\r\n",
                (unsigned long)s_baro_hz,
                (unsigned long)baro_age,
                (unsigned)s_baro_last.valid,
                (long)s_baro_last.press_pa,
                s_baro_last.alt_rel_m,
                s_baro_last.vz_mps);

		uint32_t age_us = 0xFFFFFFFFu;
if (s.baro.valid && s.baro.ts_ticks != 0u) {
  age_us = (uint32_t)(now_ticks() - s.baro.ts_ticks);
}

log_uart_printf(" | gates: armed=%u stable=%u alt_sw=%u ever_on=%u baro_v=%u age_us=%lu alt_active=%u\r\n",
  (unsigned)s.arm.armed,
  (unsigned)s.rc.stable,
  (unsigned)s.rc.alt_sw,
  (unsigned)s.air.ever_on,
  (unsigned)s.baro.valid,
  (unsigned long)age_us,
  (unsigned)s.ctrl.alt.active);

{
  sbus_uart6_dma_stats_t sbus_dma;
  sbus_uart6_dma_get_stats(&sbus_dma);
  log_uart_printf(" | sbus_dma: bytes=%lu evt=%lu idle=%lu poll=%lu err=%lu ore=%lu rst=%lu pos=%u\r\n",
                  (unsigned long)sbus_dma.rx_bytes,
                  (unsigned long)sbus_dma.rx_events,
                  (unsigned long)sbus_dma.idle_events,
                  (unsigned long)sbus_dma.poll_events,
                  (unsigned long)sbus_dma.errors,
                  (unsigned long)sbus_dma.overruns,
                  (unsigned long)sbus_dma.restarts,
                  (unsigned)sbus_dma.last_pos);
}

    last_done = now_done;
		}

    /* ===== 6) 姣?1.000s锛欴WT 棰戠巼缁熻绐楀彛锛堜綘鍘熸潵鐨勯偅濂楋級 ===== */
    if (s_irq_stats_t0 == 0) s_irq_stats_t0 = now_ticks();
		if ((uint32_t)(now_ticks() - s_irq_stats_t0) >= 1000000u) {
			s_irq_stats_t0 += 1000000u;
			irq_stats_now();
		}

    /* ===== 7) 浣庨濮挎€佹墦鍗帮紙鍙€夛級 ===== */
    if ((HAL_GetTick() - print_ms) >= PRINT_EVERY_MS) {
        print_ms = HAL_GetTick();
        float r, p, y;
        mahony_get_euler(&mah, &r, &p, &y);
        (void)r; (void)p; (void)y;
        // 浣犺 VOFA 灏卞湪杩欓噷鍙?
    }
	}
  /* USER CODE END 3 */
}

void SystemClock_Config(void)
{
  RCC_OscInitTypeDef RCC_OscInitStruct = {0};
  RCC_ClkInitTypeDef RCC_ClkInitStruct = {0};

  /** Configure the main internal regulator output voltage
  */
  __HAL_RCC_PWR_CLK_ENABLE();
  __HAL_PWR_VOLTAGESCALING_CONFIG(PWR_REGULATOR_VOLTAGE_SCALE1);

  /** Initializes the RCC Oscillators according to the specified parameters
  * in the RCC_OscInitTypeDef structure.
  */
  RCC_OscInitStruct.OscillatorType = RCC_OSCILLATORTYPE_HSI;
  RCC_OscInitStruct.HSIState = RCC_HSI_ON;
  RCC_OscInitStruct.HSICalibrationValue = RCC_HSICALIBRATION_DEFAULT;
  RCC_OscInitStruct.PLL.PLLState = RCC_PLL_ON;
  RCC_OscInitStruct.PLL.PLLSource = RCC_PLLSOURCE_HSI;
  RCC_OscInitStruct.PLL.PLLM = 8;
  RCC_OscInitStruct.PLL.PLLN = 168;
  RCC_OscInitStruct.PLL.PLLP = RCC_PLLP_DIV2;
  RCC_OscInitStruct.PLL.PLLQ = 4;
  if (HAL_RCC_OscConfig(&RCC_OscInitStruct) != HAL_OK)
  {
    Error_Handler();
  }

  /** Initializes the CPU, AHB and APB buses clocks
  */
  RCC_ClkInitStruct.ClockType = RCC_CLOCKTYPE_HCLK|RCC_CLOCKTYPE_SYSCLK
                              |RCC_CLOCKTYPE_PCLK1|RCC_CLOCKTYPE_PCLK2;
  RCC_ClkInitStruct.SYSCLKSource = RCC_SYSCLKSOURCE_PLLCLK;
  RCC_ClkInitStruct.AHBCLKDivider = RCC_SYSCLK_DIV1;
  RCC_ClkInitStruct.APB1CLKDivider = RCC_HCLK_DIV4;
  RCC_ClkInitStruct.APB2CLKDivider = RCC_HCLK_DIV2;

  if (HAL_RCC_ClockConfig(&RCC_ClkInitStruct, FLASH_LATENCY_5) != HAL_OK)
  {
    Error_Handler();
  }
}

/* USER CODE BEGIN 4 */
void HAL_SPI_TxRxCpltCallback(SPI_HandleTypeDef *hspi)
{
    if (hspi->Instance == SPI1) {
        g_spi1_done++;
        imu_pipeline_dma_on_spi_done(hspi);
    }
}

void HAL_SPI_ErrorCallback(SPI_HandleTypeDef *hspi)
{
    if (hspi->Instance == SPI1) {
        g_spi1_err++;
        imu_pipeline_dma_on_spi_error(hspi);
    }
}

void HAL_TIM_PeriodElapsedCallback(TIM_HandleTypeDef *htim)
{
    if (htim->Instance == TIM5) {
        timebase_tim5_overflow_isr();   // hi32++
        return;
    }

    if (htim->Instance == TIM2) {
        fc_core_watchdog_1khz();
        return;
    }
}
/* USER CODE END 4 */

void Error_Handler(void)
{
  __disable_irq();
  while (1)
  {
  }
}
